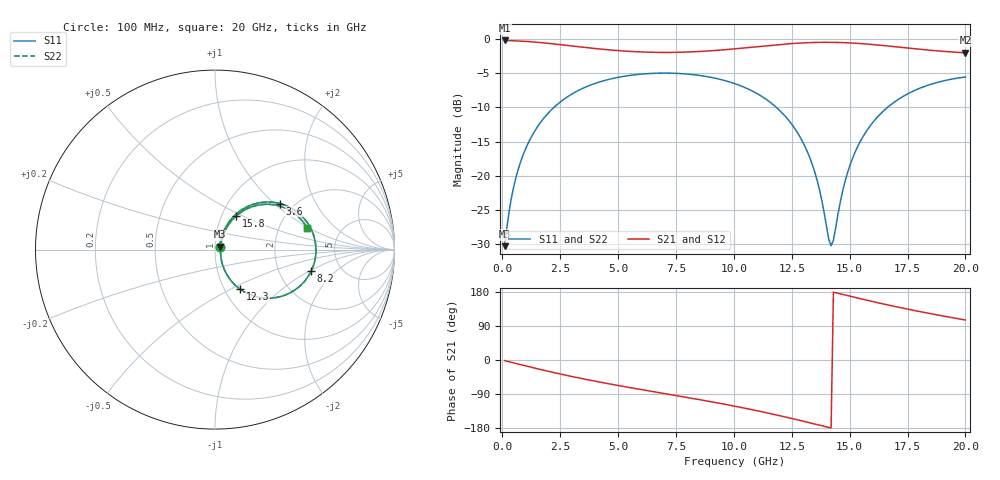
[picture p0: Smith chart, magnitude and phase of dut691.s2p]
! Touchstone file exported from HFSS 2026.1.0
!  File:  C:/ffzhzh/LocalFiles/Ansys_Project_Files/temp_train_TSV_RDL_691_1783135298_46604.aedt
!  Generated:  11:33:33 AM Jul  4, 2026
!  Design:  TSV_RDL
!  Project:  temp_train_TSV_RDL_691_1783135298_46604
! Variables:
!  h_bsmrdl = 3.82um
!  h_ox = 20um
!  h_rdl = 5um
!  h_sub = 70.1um
!  h_tmrdl = 4.4um
!  h_tsv = 70.1um
!  h_via = 3um
!  l_bsmrdl = 357.28um
!  l_sub = 4364.34um
!  l_tmrdl = 698.48um
!  m_sub = 200um
!  pitch = 39.64um
!  r_tsv = 3um
!  s_tmrdl = 10um
!  w_bsmrdl = 16.16um
!  w_sub = 500um
!  w_tmrdl = 16.7um
!  x_tsv_center1 = 706.83um
!  x_tsv_center2 = 1080.27um
!  x_tsv_center3 = 1795.45um
!  x_tsv_center4 = 2168.89um
!  x_tsv_center5 = 2884.07um
!  x_tsv_center6 = 3257.51um
# GHz S MA R 50.000000
! Terminal data exported
! Port[1] = TM_RDL1_1_T1
! Port[2] = TM_RDL5_1_T1
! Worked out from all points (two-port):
!   200 points, 100 MHz to 20 GHz, reference 50 ohm
!   highest |S21| = -0.23 dB at 100 MHz (marker M1); lowest = -2.0 dB at 20 GHz (marker M2)
!   |S21| within 3 dB of the highest: start of sweep to end of sweep
!   lowest |S11| = -30.3 dB at 100 MHz (marker M3), VSWR 1.06, Z = 52.7 + j1.68 ohm
!   |S11| at or under -10 dB: start of sweep to 2.233 GHz; 11.83 GHz to 16.64 GHz (4.804 GHz wide, 33.7 % of centre)
!   |S22| runs from -30.3 to -5.0 dB; largest |S21 - S12| = 1.6e-14
!   S11 on the Smith chart (normalised r, x): 100 MHz: 1.05, +0.03; 3.6 GHz: 1.71, +1.09; 8.2 GHz: 3.04, -1.04; 12.3 GHz: 1.18, -0.56; 15.8 GHz: 1.17, +0.46; 20 GHz: 2.87, +0.96
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0.1  0.03061 31.4  0.9742 -1.6  0.9742 -1.6  0.03061 31.4
! Gamma 0 0 0 0
! Port Impedance 50 0 50 0
0.3  0.05568 56.2  0.9718 -4.8  0.9718 -4.8  0.05568 56.2
0.5  0.08417 62.7  0.9688 -7.8  0.9688 -7.8  0.08417 62.7
1.2  0.1845 62.5  0.954 -18.4  0.954 -18.4  0.1845 62.5
2.2  0.3125 51.7  0.9202 -32.8  0.9202 -32.8  0.3125 51.7
3.5  0.4373 36.3  0.869 -49.8  0.869 -49.8  0.4373 36.3
3.6  0.4448 35.1  0.8652 -51.1  0.8652 -51.1  0.4448 35.1
5.2  0.5314 17.7  0.8167 -69.5  0.8167 -69.5  0.5314 17.7
6.8  0.5622 1.4  0.7966 -86.4  0.7966 -86.4  0.5621 1.4
8.2  0.549 -12.6  0.8044 -101.2  0.8044 -101.2  0.549 -12.6
10.1  0.4674 -32.6  0.8482 -122.6  0.8482 -122.6  0.4674 -32.7
11.3  0.3712 -46.2  0.8878 -137.7  0.8878 -137.7  0.3712 -46.3
12.3  0.2626 -57.5  0.9191 -151.4  0.9191 -151.4  0.2626 -57.6
12.9  0.1867 -63.1  0.9334 -160.1  0.9334 -160.1  0.1866 -63.2
13.4  0.1195 -64.8  0.9413 -167.5  0.9413 -167.5  0.1194 -65.0
13.7  0.07903 -61.2  0.9439 -171.9  0.9439 -171.9  0.07889 -61.4
14.2  0.03084 -2.6  0.9443 -179.5  0.9443 -179.5  0.03051 -2.5
14.9  0.104 61.2  0.9369 170.1  0.9369 170.1  0.1039 61.4
15.8  0.221 57.8  0.9157 157.0  0.9157 157.0  0.2209 57.9
16.7  0.3227 48.4  0.8861 144.6  0.8861 144.6  0.3226 48.5
18.2  0.4473 31.8  0.8347 125.8  0.8347 125.8  0.4473 31.9
20  0.5268 13.2  0.792 105.5  0.792 105.5  0.5268 13.3
